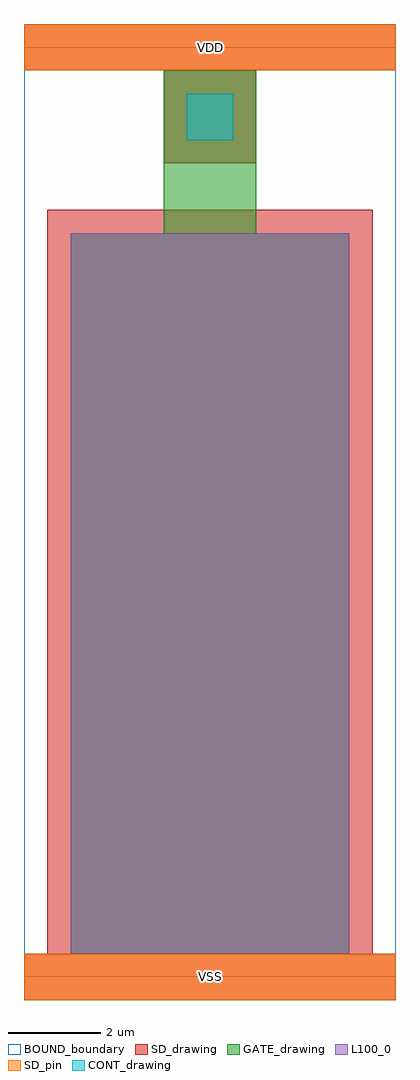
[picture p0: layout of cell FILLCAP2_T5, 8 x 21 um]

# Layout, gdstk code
import gdstk
lib = gdstk.Library(unit=1e-6, precision=1e-09)
def R(c, l, rs):  # rectangles x0, y0, x1, y1
    for r in rs: c.add(gdstk.rectangle(r[:2], r[2:], *l))
SD_drawing = (10, 0)
SD_pin = (10, 3)
GATE_drawing = (11, 0)
CONT_drawing = (30, 0)
L100_0 = (100, 0)
BOUND_boundary = (150, 5)

cap_cdns_772544919030 = lib.new_cell('cap_CDNS_772544919030')
R(cap_cdns_772544919030, SD_drawing, [(-3.5,-8.25,3.5,8.25)])
R(cap_cdns_772544919030, GATE_drawing, [(-3,-7.75,3,7.75)])
R(cap_cdns_772544919030, L100_0, [(-3,-7.75,3,7.75)])

sd_gate_cdns_77254491903 = lib.new_cell('SD_GATE_CDNS_772544919030')
R(sd_gate_cdns_77254491903, SD_drawing, [(-1,-1,1,1)])
R(sd_gate_cdns_77254491903, GATE_drawing, [(-1,-1,1,1)])
R(sd_gate_cdns_77254491903, CONT_drawing, [(-0.5,-0.5,0.5,0.5)])

fillcap2_t5 = lib.new_cell('FILLCAP2_T5')
R(fillcap2_t5, SD_pin, [(0,-0.5,8,0.5), (0,19.5,8,20.5)])
R(fillcap2_t5, GATE_drawing, [(3,16,5,17.5)])
R(fillcap2_t5, BOUND_boundary, [(0,0,8,20)])
fillcap2_t5.add(gdstk.FlexPath([(0,0),(8,0)], 1, ends="flush", simple_path=True, layer=10, datatype=0))  # SD_drawing
fillcap2_t5.add(gdstk.FlexPath([(0,20),(8,20)], 1, ends="flush", simple_path=True, layer=10, datatype=0))  # SD_drawing
fillcap2_t5.add(gdstk.Reference(cap_cdns_772544919030, (4,8.25)))
fillcap2_t5.add(gdstk.Reference(sd_gate_cdns_77254491903, (4,18.5)))
fillcap2_t5.add(gdstk.Label('VSS', (4,0), layer=10, texttype=3))
fillcap2_t5.add(gdstk.Label('VDD', (4,20), layer=10, texttype=3))

lib.write_gds('FILLCAP2_T5.gds')
